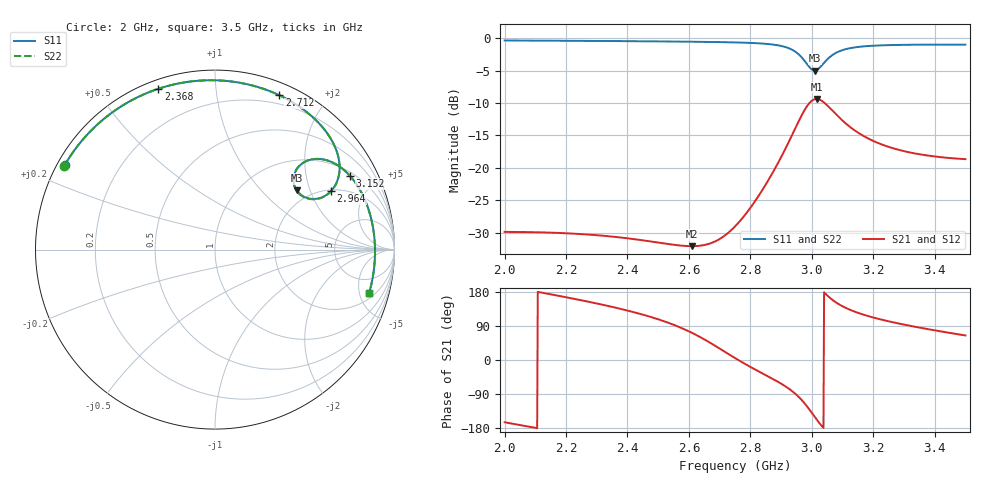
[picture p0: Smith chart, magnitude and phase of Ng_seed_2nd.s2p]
! Touchstone file exported from HFSS 2022.1.0
!  File:  C:/Users/Hamza Safder/Downloads/PSF-V2 with holder (2).aedt
!  Generated:  12:00:03 AM  Sep 22, 2023
!  Design:  HFSSDesign1
!  Project:  PSF-V2 with holder (2)
!  Setup:  Setup1
!  Solution:  Sweep
! Variables:
!  WS = 5mm
!  ax = 15mm
!  az = 3.18mm
!  azd = 3mm
!  bx = 13mm
!  bx2 = 12.5mm
!  bx3 = 3.16mm
!  cin = 27.8mm
!  gap = 0.7mm
!  mid = 3mm
!  shift = 21.24mm
!  strip_1L = 18.62mm
!  substrate_L = 80mm
!  substrate_W = 70mm
!  t = 3mm
!  w50 = 9.18mm
!  wt = 1mm
!  xs = 0.8mm
!  zzz = 8mm
# GHz S MA R 50.000000
! Terminal data exported
! Port[1] = ground_T1
! Port[2] = ground_T2
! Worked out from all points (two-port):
!   751 points, 2 GHz to 3.5 GHz, reference 50 ohm
!   highest |S21| = -9.38 dB at 3.016 GHz (marker M1); lowest = -32.1 dB at 2.61 GHz (marker M2)
!   |S21| within 3 dB of the highest: 2.962 GHz to 3.092 GHz (130.6 MHz wide, 4.31 % of centre)
!   lowest |S11| = -5.0 dB at 3.01 GHz (marker M3), VSWR 3.58, Z = 84.3 + j81.5 ohm
!   |S11| at or under -10 dB: nowhere
!   |S22| runs from -5.0 to -0.3 dB; largest |S21 - S12| = 5e-15
!   S11 on the Smith chart (normalised r, x): 2 GHz: 0.02, +0.26; 2.368 GHz: 0.04, +0.71; 2.712 GHz: 0.11, +1.49; 2.964 GHz: 2.05, +2.82; 3.152 GHz: 1.15, +3.56; 3.5 GHz: 2.59, -6.16
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2  0.9606 150.8  0.03202 -164.3  0.03202 -164.3  0.9605 150.8
! Gamma 0 0 0 0
! Port Impedance 50 0 50 0
2.12  0.9576 137.6  0.03175 178.0  0.03175 178.0  0.9575 137.6
2.25  0.954 122.9  0.03079 157.6  0.03079 157.6  0.9539 123.0
2.368  0.9501 109.4  0.02916 136.8  0.02916 136.8  0.95 109.4
2.5  0.9449 93.8  0.02649 107.5  0.02649 107.5  0.9447 93.8
2.61  0.9394 80.3  0.02485 71.7  0.02485 71.7  0.9392 80.4
2.712  0.9319 67.4  0.02945 24.1  0.02945 24.1  0.9317 67.4
2.75  0.9278 62.3  0.03528 5.2  0.03528 5.2  0.9276 62.3
2.822  0.9146 52.0  0.05836 -27.9  0.05836 -27.9  0.9143 52.0
2.9  0.8718 38.9  0.1207 -62.4  0.1207 -62.4  0.8713 38.9
2.936  0.8142 31.7  0.1793 -82.2  0.1793 -82.2  0.8134 31.7
2.964  0.7242 26.8  0.2458 -102.8  0.2458 -102.8  0.7229 26.7
2.984  0.6332 26.6  0.2978 -121.9  0.2978 -121.9  0.6313 26.5
3  0.574 31.2  0.3289 -139.4  0.3289 -139.4  0.5716 31.2
3.01  0.5629 35.9  0.3382 -150.7  0.3382 -150.7  0.5605 35.9
3.016  0.5683 38.7  0.3394 -157.3  0.3394 -157.3  0.566 38.8
3.036  0.6308 44.3  0.3242 -177.6  0.3242 -177.6  0.629 44.4
3.07  0.7492 42.3  0.2716 156.9  0.2716 156.9  0.7482 42.4
3.152  0.8568 28.7  0.1858 124.0  0.1858 124.0  0.8564 28.7
3.25  0.8842 14.7  0.1451 102.1  0.1451 102.1  0.884 14.7
3.368  0.8916 -0.2  0.1253 82.9  0.1253 82.9  0.8915 -0.2
3.5  0.8923 -15.8  0.1166 64.8  0.1166 64.8  0.8922 -15.8
